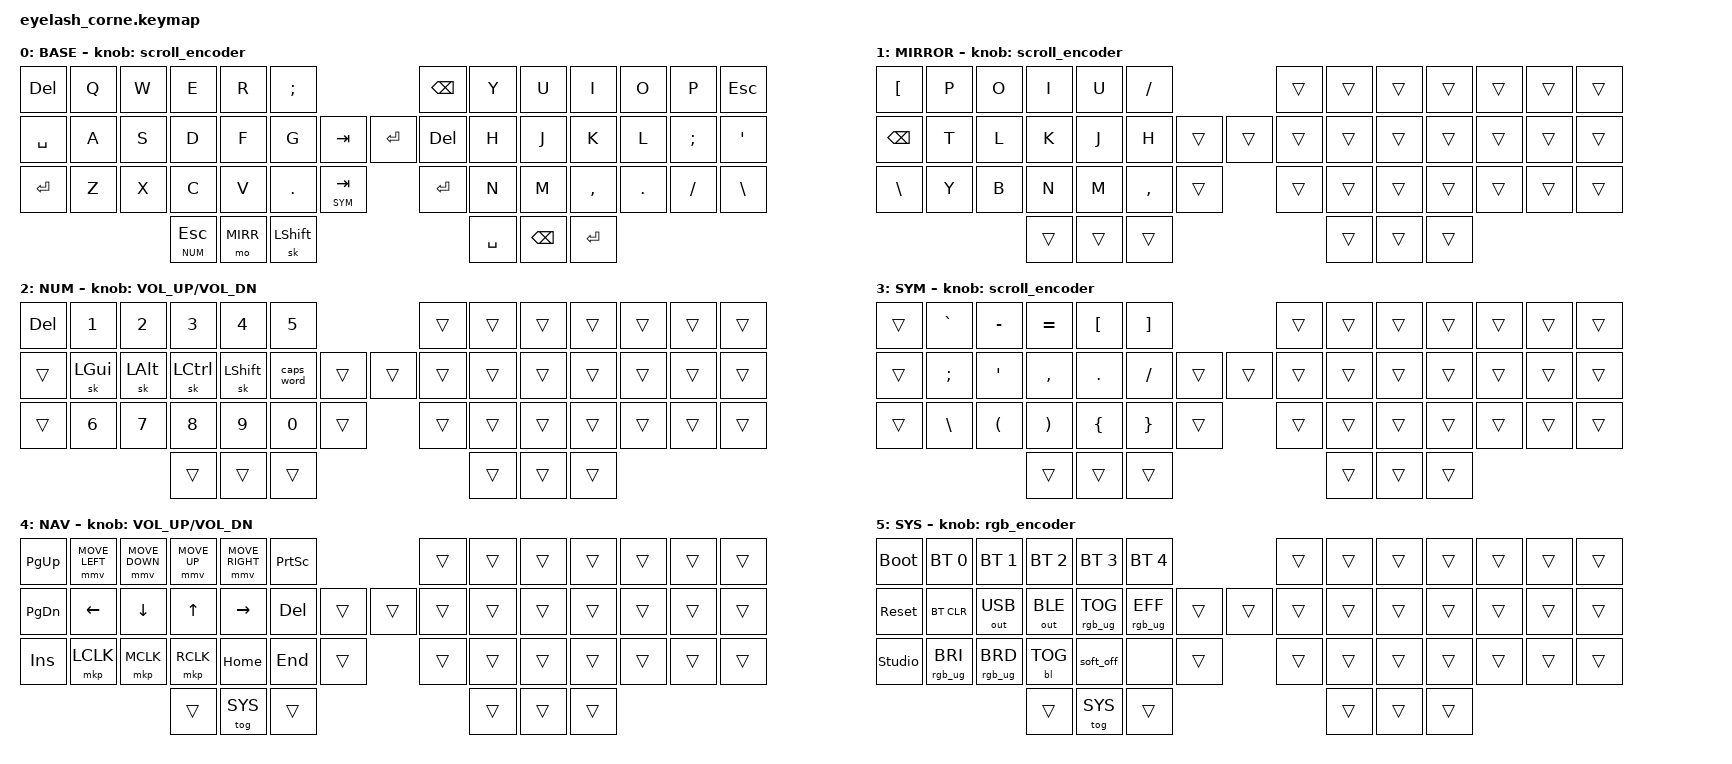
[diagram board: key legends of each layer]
/*
 * Eyelash Corne — one-handed (left half) keymap
 *
 * Design notes:
 *  - The left half alone is the keyboard: 18 main keys + 1 extra + 3 thumbs = 22.
 *  - MIRR is a TRUE mirror of the right half (each row reversed), so every key
 *    keeps its finger and row. E<->I are both middle finger, T<->Y both index.
 *  - Mods are sticky (&sk): tap, release, then tap the key. No chording needed
 *    with one hand. Thumb Ctrl is a real hold for the common Ctrl+key case.
 *  - NAV is a conditional layer: hold NUM + SYM (thumb + index) together.
 *  - &mirror: hold = momentary mirror, tap = lock it on (tap again to release).
 *    Layer locking is a ZMK main feature; it means one hand never has to hold
 *    a layer key down while typing.
 */

#define ZMK_POINTING_DEFAULT_MOVE_VAL 1200
#define ZMK_POINTING_DEFAULT_SCRL_VAL 25

#include <input/processors.dtsi>
#include <zephyr/dt-bindings/input/input-event-codes.h>
#include <behaviors.dtsi>
#include <dt-bindings/zmk/backlight.h>
#include <dt-bindings/zmk/bt.h>
#include <dt-bindings/zmk/ext_power.h>
#include <dt-bindings/zmk/keys.h>
#include <dt-bindings/zmk/outputs.h>
#include <dt-bindings/zmk/pointing.h>
#include <dt-bindings/zmk/rgb.h>

#define BASE 0
#define MIRR 1
#define NUM  2
#define SYM  3
#define NAV  4
#define SYS  5

&mmv_input_listener { input-processors = <&zip_xy_scaler 2 1>; };
&msc_input_listener { input-processors = <&zip_scroll_scaler 2 1>; };

&msc {
    acceleration-exponent = <1>;
    time-to-max-speed-ms = <100>;
    delay-ms = <0>;
};

&mmv {
    time-to-max-speed-ms = <500>;
    acceleration-exponent = <1>;
    trigger-period-ms = <16>;
};

/ {
    behaviors {
        // Thumb mod-tap: balanced, so Ctrl wins as soon as another key is
        // pressed and released. tap-preferred would swallow the mod.
        tmod: thumb_mod_tap {
            compatible = "zmk,behavior-hold-tap";
            #binding-cells = <2>;
            flavor = "balanced";
            tapping-term-ms = <200>;
            quick-tap-ms = <175>;
            bindings = <&kp>, <&kp>;
        };

        // Layer-tap, balanced for the same reason.
        ltb: layer_tap_balanced {
            compatible = "zmk,behavior-hold-tap";
            #binding-cells = <2>;
            flavor = "balanced";
            tapping-term-ms = <180>;
            quick-tap-ms = <175>;
            bindings = <&mo>, <&kp>;
        };
    };

    combos {
        compatible = "zmk,combos";

        // Both left thumbs together = lock the mirror on (again = release).
        // Deliberately a two-key press: a single thumb can no longer latch
        // the layer by accident, which is what the old tap-to-toggle did.
        mirror_lock {
            bindings = <&tog MIRR>;
            key-positions = <42 43>;
            layers = <BASE MIRR>;
            timeout-ms = <50>;
        };
    };

    conditional_layers {
        compatible = "zmk,conditional-layers";
        nav_layer {
            if-layers = <NUM SYM>;
            then-layer = <NAV>;
        };
    };

    rgb_encoder: rgb_encoder {
        compatible = "zmk,behavior-sensor-rotate";
        #sensor-binding-cells = <0>;
        bindings = <&rgb_ug RGB_BRI>, <&rgb_ug RGB_BRD>;
    };

    scroll_encoder: scroll_encoder {
        compatible = "zmk,behavior-sensor-rotate";
        #sensor-binding-cells = <0>;
        bindings = <&msc SCRL_DOWN>, <&msc SCRL_UP>;
        tap-ms = <30>;
    };

    keymap {
        compatible = "zmk,keymap";

        base_layer {
            display-name = "BASE";
            bindings = <
&kp DEL        &kp Q  &kp W  &kp E  &kp R  &kp SEMI                                  &kp BSPC                &kp Y  &kp U  &kp I      &kp O    &kp P     &kp ESC
&kp SPACE      &kp A  &kp S  &kp D  &kp F  &kp G                &kp TAB  &kp ENTER  &kp DEL               &kp H  &kp J  &kp K      &kp L    &kp SEMI  &kp SQT
&kp ENTER      &kp Z  &kp X  &kp C  &kp V  &kp DOT   &ltb SYM TAB              &kp ENTER                    &kp N  &kp M  &kp COMMA  &kp DOT  &kp FSLH  &kp BSLH
                       &ltb NUM ESC  &mo MIRR            &sk LSHFT                                  &kp SPACE  &kp BSPC  &kp ENTER
            >;
            sensor-bindings = <&scroll_encoder>;
        };

        mirror_layer {
            display-name = "MIRROR";
            bindings = <
&kp LBKT   &kp P     &kp O    &kp I      &kp U  &kp FSLH                             &trans              &trans  &trans  &trans  &trans  &trans  &trans
&kp BSPC   &kp T  &kp L    &kp K      &kp J  &kp H              &trans  &trans  &trans             &trans  &trans  &trans  &trans  &trans  &trans
&kp BSLH   &kp Y  &kp B  &kp N  &kp M  &kp COMMA     &trans            &trans                    &trans  &trans  &trans  &trans  &trans  &trans
                               &trans  &trans  &trans                                            &trans  &trans  &trans
            >;
            sensor-bindings = <&scroll_encoder>;
        };

        num_layer {
            display-name = "NUM";
            bindings = <
&kp DEL    &kp N1     &kp N2     &kp N3      &kp N4       &kp N5                          &trans              &trans  &trans  &trans  &trans  &trans  &trans
&trans     &sk LGUI   &sk LALT   &sk LCTRL   &sk LSHFT    &caps_word     &trans  &trans  &trans              &trans  &trans  &trans  &trans  &trans  &trans
&trans     &kp N6     &kp N7     &kp N8      &kp N9       &kp N0    &trans              &trans               &trans  &trans  &trans  &trans  &trans  &trans
                                  &trans  &trans  &trans                                                 &trans  &trans  &trans
            >;
            sensor-bindings = <&inc_dec_kp C_VOL_UP C_VOL_DN>;
        };

        sym_layer {
            display-name = "SYM";
            bindings = <
&trans     &kp GRAVE  &kp MINUS  &kp EQUAL  &kp LBKT  &kp RBKT                        &trans              &trans  &trans  &trans  &trans  &trans  &trans
&trans     &kp SEMI   &kp SQT    &kp COMMA  &kp DOT   &kp FSLH       &trans  &trans  &trans              &trans  &trans  &trans  &trans  &trans  &trans
&trans     &kp BSLH   &kp LPAR   &kp RPAR   &kp LBRC  &kp RBRC  &trans              &trans               &trans  &trans  &trans  &trans  &trans  &trans
                                  &trans  &trans  &trans                                                 &trans  &trans  &trans
            >;
            sensor-bindings = <&scroll_encoder>;
        };

        nav_layer {
            display-name = "NAV";
            bindings = <
&kp PG_UP  &mmv MOVE_LEFT  &mmv MOVE_DOWN  &mmv MOVE_UP  &mmv MOVE_RIGHT  &kp PSCRN                 &trans              &trans  &trans  &trans  &trans  &trans  &trans
&kp PG_DN  &kp LEFT        &kp DOWN        &kp UP        &kp RIGHT        &kp DEL   &trans  &trans  &trans              &trans  &trans  &trans  &trans  &trans  &trans
&kp INS    &mkp LCLK       &mkp MCLK       &mkp RCLK     &kp HOME         &kp END   &trans          &trans              &trans  &trans  &trans  &trans  &trans  &trans
                                  &trans  &tog SYS  &trans                                              &trans  &trans  &trans
            >;
            sensor-bindings = <&inc_dec_kp C_VOL_UP C_VOL_DN>;
        };

        sys_layer {
            display-name = "SYS";
            bindings = <
&bootloader      &bt BT_SEL 0     &bt BT_SEL 1     &bt BT_SEL 2   &bt BT_SEL 3     &bt BT_SEL 4                    &trans              &trans  &trans  &trans  &trans  &trans  &trans
&sys_reset       &bt BT_CLR       &out OUT_USB     &out OUT_BLE   &rgb_ug RGB_TOG  &rgb_ug RGB_EFF  &trans  &trans  &trans              &trans  &trans  &trans  &trans  &trans  &trans
&studio_unlock   &rgb_ug RGB_BRI  &rgb_ug RGB_BRD  &bl BL_TOG     &soft_off        &none      &trans          &trans                    &trans  &trans  &trans  &trans  &trans  &trans
                                  &trans  &tog SYS  &trans                                              &trans  &trans  &trans
            >;
            sensor-bindings = <&rgb_encoder>;
        };
    };
};
